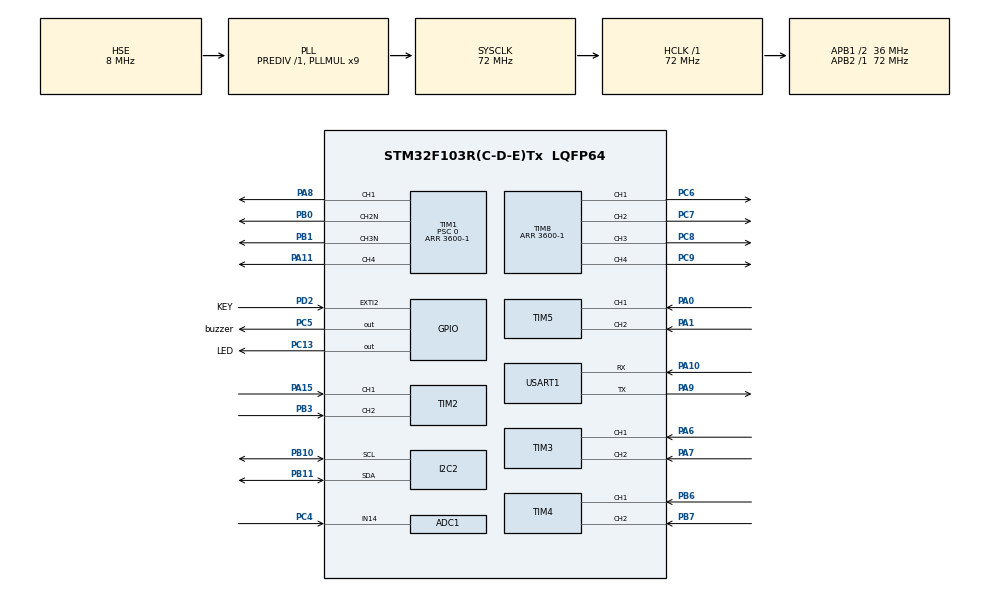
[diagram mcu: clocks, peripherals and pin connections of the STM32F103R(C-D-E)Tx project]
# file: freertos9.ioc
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ADC1.Channel-0\#ChannelRegularConversion=ADC_CHANNEL_14
ADC1.ContinuousConvMode=ENABLE
ADC1.NbrOfConversion=1
ADC1.NbrOfConversionFlag=1
ADC1.Rank-0\#ChannelRegularConversion=1
ADC1.SamplingTime-0\#ChannelRegularConversion=ADC_SAMPLETIME_239CYCLES_5
ADC1.master=1
FREERTOS.Tasks01=defaultTask,24,128,StartDefaultTask,Default,NULL,Dynamic,NULL,NULL
FREERTOS.configTOTAL_HEAP_SIZE=8000
FREERTOS.configUSE_NEWLIB_REENTRANT=1
Mcu.Family=STM32F1
Mcu.Name=STM32F103R(C-D-E)Tx
Mcu.Package=LQFP64
NVIC.EXTI2_IRQn=true\:5\:0\:false\:false\:true\:true\:true\:true\:true
NVIC.PriorityGroup=NVIC_PRIORITYGROUP_4
NVIC.TIM6_IRQn=true\:15\:0\:false\:false\:true\:false\:false\:true\:true
NVIC.TimeBase=TIM6_IRQn
NVIC.TimeBaseIP=TIM6
PA0-WKUP.Signal=S_TIM5_CH1
PA1.Signal=S_TIM5_CH2
PA10.Mode=Asynchronous
PA10.Signal=USART1_RX
PA11.Signal=S_TIM1_CH4
PA13.Mode=Serial_Wire
PA13.Signal=SYS_JTMS-SWDIO
PA14.Mode=Serial_Wire
PA14.Signal=SYS_JTCK-SWCLK
PA15.Signal=S_TIM2_CH1_ETR
PA6.Signal=S_TIM3_CH1
PA7.Signal=S_TIM3_CH2
PA8.Signal=S_TIM1_CH1
PA9.Mode=Asynchronous
PA9.Signal=USART1_TX
PB0.Mode=PWM Generation2 CH2N
PB0.Signal=TIM1_CH2N
PB1.Mode=PWM Generation3 CH3N
PB1.Signal=TIM1_CH3N
PB10.Mode=I2C
PB10.Signal=I2C2_SCL
PB11.Mode=I2C
PB11.Signal=I2C2_SDA
PB3.Signal=S_TIM2_CH2
PB6.Signal=S_TIM4_CH1
PB7.Signal=S_TIM4_CH2
PC13-TAMPER-RTC.GPIO_Label=LED
PC13-TAMPER-RTC.Signal=GPIO_Output
PC4.Signal=ADCx_IN14
PC5.GPIO_Label=buzzer
PC5.GPIO_Speed=GPIO_SPEED_FREQ_LOW
PC5.Signal=GPIO_Output
PC6.Signal=S_TIM8_CH1
PC7.Signal=S_TIM8_CH2
PC8.Signal=S_TIM8_CH3
PC9.Signal=S_TIM8_CH4
PD0-OSC_IN.Mode=HSE-External-Oscillator
PD0-OSC_IN.Signal=RCC_OSC_IN
PD1-OSC_OUT.Mode=HSE-External-Oscillator
PD1-OSC_OUT.Signal=RCC_OSC_OUT
PD2.GPIO_Label=KEY
PD2.Signal=GPXTI2
ProjectManager.HeapSize=0x200
ProjectManager.StackSize=0x400
ProjectManager.TargetToolchain=STM32CubeIDE
RCC.ADCPresc=RCC_ADCPCLK2_DIV6
RCC.AHBFreq_Value=72000000
RCC.APB1CLKDivider=RCC_HCLK_DIV2
RCC.APB1Freq_Value=36000000
RCC.APB1TimFreq_Value=72000000
RCC.APB2Freq_Value=72000000
RCC.APB2TimFreq_Value=72000000
RCC.HCLKFreq_Value=72000000
RCC.PLLMUL=RCC_PLL_MUL9
RCC.PLLSourceVirtual=RCC_PLLSOURCE_HSE
RCC.SYSCLKFreq_VALUE=72000000
RCC.SYSCLKSource=RCC_SYSCLKSOURCE_PLLCLK
RCC.USBFreq_Value=72000000
SH.ADCx_IN14.0=ADC1_IN14,IN14
SH.S_TIM1_CH1.0=TIM1_CH1,PWM Generation1 CH1
SH.S_TIM1_CH4.0=TIM1_CH4,PWM Generation4 CH4
SH.S_TIM2_CH1_ETR.0=TIM2_CH1,Encoder_Interface
SH.S_TIM2_CH2.0=TIM2_CH2,Encoder_Interface
SH.S_TIM3_CH1.0=TIM3_CH1,Encoder_Interface
SH.S_TIM3_CH2.0=TIM3_CH2,Encoder_Interface
SH.S_TIM4_CH1.0=TIM4_CH1,Encoder_Interface
SH.S_TIM4_CH2.0=TIM4_CH2,Encoder_Interface
SH.S_TIM5_CH1.0=TIM5_CH1,Encoder_Interface
SH.S_TIM5_CH2.0=TIM5_CH2,Encoder_Interface
SH.S_TIM8_CH1.0=TIM8_CH1,Output Compare1 CH1
SH.S_TIM8_CH2.0=TIM8_CH2,PWM Generation2 CH2
SH.S_TIM8_CH3.0=TIM8_CH3,PWM Generation3 CH3
SH.S_TIM8_CH4.0=TIM8_CH4,PWM Generation4 CH4
TIM1.AutoReloadPreload=TIM_AUTORELOAD_PRELOAD_ENABLE
TIM1.Channel-PWM\ Generation1\ CH1=TIM_CHANNEL_1
TIM1.Channel-PWM\ Generation2\ CH2N=TIM_CHANNEL_2
TIM1.Channel-PWM\ Generation3\ CH3N=TIM_CHANNEL_3
TIM1.Channel-PWM\ Generation4\ CH4=TIM_CHANNEL_4
TIM1.Period=3600-1
TIM1.Prescaler=0
TIM3.AutoReloadPreload=TIM_AUTORELOAD_PRELOAD_ENABLE
TIM3.EncoderMode=TIM_ENCODERMODE_TI12
TIM3.IC1Filter=0xf
TIM3.IC2Filter=0xf
TIM8.Channel-Output\ Compare1\ CH1=TIM_CHANNEL_1
TIM8.Channel-PWM\ Generation2\ CH2=TIM_CHANNEL_2
TIM8.Channel-PWM\ Generation3\ CH3=TIM_CHANNEL_3
TIM8.Channel-PWM\ Generation4\ CH4=TIM_CHANNEL_4
TIM8.Period=3600-1
USART1.VirtualMode=VM_ASYNC
VP_FREERTOS_VS_CMSIS_V2.Mode=CMSIS_V2
VP_SYS_VS_tim6.Mode=TIM6
VP_TIM1_VS_ClockSourceINT.Mode=Internal
VP_TIM8_VS_ClockSourceINT.Mode=Internal
board=custom

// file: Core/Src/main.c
/* USER CODE BEGIN Header */
/**
  ******************************************************************************
  * @file           : main.c
  * @brief          : Main program body
  ******************************************************************************
  * @attention
  *
  * Copyright (c) 2025 STMicroelectronics.
  * All rights reserved.
  *
  * This software is licensed under terms that can be found in the LICENSE file
  * in the root directory of this software component.
  * If no LICENSE file comes with this software, it is provided AS-IS.
  *
  ******************************************************************************
  */
/* USER CODE END Header */
#include "main.h"
#include "cmsis_os.h"
#include "adc.h"
#include "i2c.h"
#include "tim.h"
#include "usart.h"
#include "gpio.h"

/* USER CODE BEGIN Includes */
#include "freertos_ITF.h"
/* USER CODE END Includes */

void SystemClock_Config(void);

void MX_FREERTOS_Init(void);

int main(void) {

    /* MCU Configuration--------------------------------------------------------*/

    /* Reset of all peripherals, Initializes the Flash interface and the Systick. */
    HAL_Init();

    /* Configure the system clock */
    SystemClock_Config();

    /* Initialize all configured peripherals */
    MX_GPIO_Init();
    MX_I2C2_Init();
    MX_TIM1_Init();
    MX_TIM8_Init();
    MX_TIM3_Init();
    MX_USART1_UART_Init();
    MX_TIM2_Init();
    MX_TIM4_Init();
    MX_TIM5_Init();
    MX_ADC1_Init();
    /* USER CODE BEGIN 2 */
    OLED_Init();
    /* USER CODE END 2 */

    /* Init scheduler */
    osKernelInitialize();

    /* Call init function for freertos objects (in cmsis_os2.c) */
    MX_FREERTOS_Init();

    /* Start scheduler */
    osKernelStart();

    /* We should never get here as control is now taken by the scheduler */

    /* Infinite loop */
    while (1) {

    }
}

void SystemClock_Config(void) {
    RCC_OscInitTypeDef RCC_OscInitStruct = {0};
    RCC_ClkInitTypeDef RCC_ClkInitStruct = {0};
    RCC_PeriphCLKInitTypeDef PeriphClkInit = {0};

    /** Initializes the RCC Oscillators according to the specified parameters
    * in the RCC_OscInitTypeDef structure.
    */
    RCC_OscInitStruct.OscillatorType = RCC_OSCILLATORTYPE_HSE;
    RCC_OscInitStruct.HSEState = RCC_HSE_ON;
    RCC_OscInitStruct.HSEPredivValue = RCC_HSE_PREDIV_DIV1;
    RCC_OscInitStruct.HSIState = RCC_HSI_ON;
    RCC_OscInitStruct.PLL.PLLState = RCC_PLL_ON;
    RCC_OscInitStruct.PLL.PLLSource = RCC_PLLSOURCE_HSE;
    RCC_OscInitStruct.PLL.PLLMUL = RCC_PLL_MUL9;
    if (HAL_RCC_OscConfig(&RCC_OscInitStruct) != HAL_OK) {
        Error_Handler();
    }

    /** Initializes the CPU, AHB and APB buses clocks
    */
    RCC_ClkInitStruct.ClockType = RCC_CLOCKTYPE_HCLK | RCC_CLOCKTYPE_SYSCLK
                                  | RCC_CLOCKTYPE_PCLK1 | RCC_CLOCKTYPE_PCLK2;
    RCC_ClkInitStruct.SYSCLKSource = RCC_SYSCLKSOURCE_PLLCLK;
    RCC_ClkInitStruct.AHBCLKDivider = RCC_SYSCLK_DIV1;
    RCC_ClkInitStruct.APB1CLKDivider = RCC_HCLK_DIV2;
    RCC_ClkInitStruct.APB2CLKDivider = RCC_HCLK_DIV1;

    if (HAL_RCC_ClockConfig(&RCC_ClkInitStruct, FLASH_LATENCY_2) != HAL_OK) {
        Error_Handler();
    }
    PeriphClkInit.PeriphClockSelection = RCC_PERIPHCLK_ADC;
    PeriphClkInit.AdcClockSelection = RCC_ADCPCLK2_DIV6;
    if (HAL_RCCEx_PeriphCLKConfig(&PeriphClkInit) != HAL_OK) {
        Error_Handler();
    }
}

void HAL_TIM_PeriodElapsedCallback(TIM_HandleTypeDef *htim) {
    if (htim->Instance == TIM6) {
        HAL_IncTick();
    }
}

void Error_Handler(void) {
    __disable_irq();
    while (1) {
    }
}

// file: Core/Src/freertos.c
/* USER CODE BEGIN Header */
/**
  ******************************************************************************
  * File Name          : freertos.c
  * Description        : Code for freertos applications
  ******************************************************************************
  * @attention
  *
  * Copyright (c) 2025 STMicroelectronics.
  * All rights reserved.
  *
  * This software is licensed under terms that can be found in the LICENSE file
  * in the root directory of this software component.
  * If no LICENSE file comes with this software, it is provided AS-IS.
  *
  ******************************************************************************
  */
/* USER CODE END Header */

#include "FreeRTOS.h"
#include "task.h"
#include "main.h"
#include "cmsis_os.h"

/* USER CODE BEGIN Includes */
#include "freertos_ITF.h"
/* USER CODE END Includes */

/* USER CODE BEGIN PTD */
extern Car g_car[4];
/* USER CODE END PTD */

/* USER CODE BEGIN Variables */
static SemaphoreHandle_t g_xSemaphoreHandle;
/* USER CODE END Variables */
/* Definitions for defaultTask */
osThreadId_t defaultTaskHandle;
const osThreadAttr_t defaultTask_attributes = {
        .name = "defaultTask",
        .stack_size = 128 * 4,
        .priority = (osPriority_t) osPriorityNormal,
};

/* USER CODE BEGIN FunctionPrototypes */
void OLED_PrintTask1(void *params);
void OLED_PrintTask2(void *params);
void OLED_PrintTask3(void *params);
/* USER CODE END FunctionPrototypes */

void StartDefaultTask(void *argument);

void MX_FREERTOS_Init(void); /* (MISRA C 2004 rule 8.1) */

void MX_FREERTOS_Init(void) {
    /* USER CODE BEGIN Init */
    g_xSemaphoreHandle = xSemaphoreCreateMutex();
    xSemaphoreGive(g_xSemaphoreHandle);
//    GameInit();

    /* USER CODE END Init */

    /* Create the thread(s) */
    /* creation of defaultTask */
//    defaultTaskHandle = osThreadNew(StartDefaultTask, NULL, &defaultTask_attributes);

    /* USER CODE BEGIN RTOS_THREADS */
    /* add threads, ... */
    xTaskCreate(OLED_PrintTask1, "Task1", 128, &g_car[0], osPriorityNormal, NULL);
    xTaskCreate(OLED_PrintTask2, "Task2", 128, &g_car[1], osPriorityNormal+1, NULL);
    xTaskCreate(OLED_PrintTask3, "Task3", 128, &g_car[2], osPriorityNormal+2, NULL);
//    xTaskCreate(OLED_PrintTask, "Task4", 128, &g_car[3], osPriorityNormal, NULL);

    /* USER CODE END RTOS_THREADS */

}

void StartDefaultTask(void *argument) {
}

/* USER CODE BEGIN Application */
void OLED_PrintTask1(void *params) {
    Car *car = params;
    ShowCar(car);
    xSemaphoreTake(g_xSemaphoreHandle, portMAX_DELAY);
    while (1) {
        /* 读队 */
        HideCar(car);
        car->x += 1;
        if (car->x > 128 ) {car->x = 120;}
        ShowCar(car);
        vTaskDelay(100);
        if (car->x == 120) {
            xSemaphoreGive(g_xSemaphoreHandle);
            vTaskDelete(NULL);
        }
    }
}

void OLED_PrintTask2(void *params) {
    Car *car = params;
    ShowCar(car);
    vTaskDelay(1000);
//    xSemaphoreTake(g_xSemaphoreHandle, portMAX_DELAY);
    while (1) {
        /* 读队 */
        HideCar(car);
        car->x += 1;
        if (car->x > 128 ) {car->x = 120;}
        ShowCar(car);
//        vTaskDelay(100);
        HAL_Delay(100);
        if (car->x == 120) {
//            xSemaphoreGive(g_xSemaphoreHandle);
            vTaskDelete(NULL);
        }
    }
}
void OLED_PrintTask3(void *params) {
    Car *car = params;
    ShowCar(car);
    vTaskDelay(2000);
    xSemaphoreTake(g_xSemaphoreHandle, portMAX_DELAY);
    while (1) {
        /* 读队 */
        HideCar(car);
        car->x += 1;
        if (car->x > 128 ) {car->x = 120;}
        ShowCar(car);
        vTaskDelay(100);
        if (car->x == 120) {
            xSemaphoreGive(g_xSemaphoreHandle);
            vTaskDelete(NULL);
        }
    }
}
/* USER CODE END Application */
